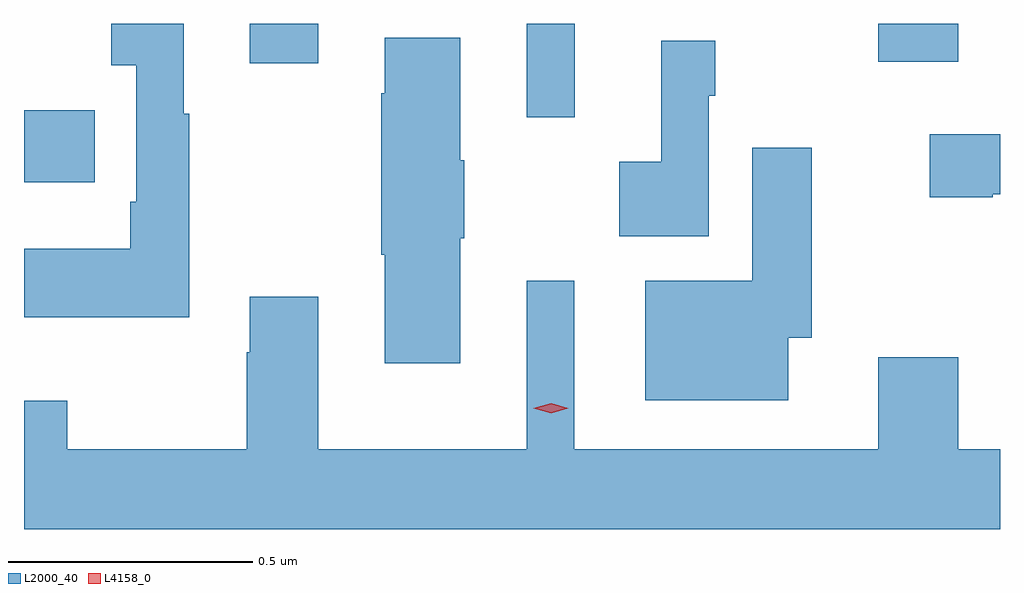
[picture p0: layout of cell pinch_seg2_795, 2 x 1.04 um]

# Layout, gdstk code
import gdstk
lib = gdstk.Library(unit=1e-6, precision=1e-09)
def R(c, l, rs):  # rectangles x0, y0, x1, y1
    for r in rs: c.add(gdstk.rectangle(r[:2], r[2:], *l))
def P(c, l, *ps):  # polygons
    for p in ps: c.add(gdstk.Polygon(p, *l))
L2000_40 = (2000, 40)
L4158_0 = (4158, 0)

pinch_seg2_795 = lib.new_cell('pinch_seg2_795')
R(pinch_seg2_795, L2000_40, [(726.694,652.343,726.839,652.491), (727.724,652.476,727.823,652.668), (727.157,652.587,727.297,652.668), (728.444,652.59,728.608,652.668)])
P(pinch_seg2_795, L2000_40, [(727.033,652.483),(727.021,652.483),(727.021,652.668),(726.873,652.668),(726.873,652.583),(726.924,652.583),(726.924,652.303),(726.912,652.303),(726.912,652.207),(726.694,652.207),(726.694,652.067),(727.033,652.067)],
  [(727.588,652.228),(727.596,652.228),(727.596,652.388),(727.588,652.388),(727.588,652.639),(727.433,652.639),(727.433,652.526),(727.426,652.526),(727.426,652.195),(727.433,652.195),(727.433,651.972),(727.588,651.972)],
  [(728.097,652.52),(728.11,652.52),(728.11,652.633),(728,652.633),(728,652.385),(727.914,652.385),(727.914,652.232),(728.097,652.232)],
  [(728.679,652.319),(728.694,652.319),(728.694,652.441),(728.55,652.441),(728.55,652.312),(728.679,652.312)],
  [(728.26,652.025),(728.308,652.025),(728.308,652.414),(728.186,652.414),(728.186,652.141),(727.967,652.141),(727.967,651.896),(728.26,651.896)],
  [(728.694,651.796),(728.608,651.796),(728.608,651.985),(728.444,651.985),(728.444,651.796),(727.822,651.796),(727.822,652.141),(727.724,652.141),(727.724,651.796),(727.297,651.796),(727.297,652.108),(727.157,652.108),(727.157,651.995),(727.15,651.995),(727.15,651.796),(726.783,651.796),(726.783,651.895),(726.694,651.895),(726.694,651.632),(728.694,651.632)])
P(pinch_seg2_795, L4158_0, [(727.774,651.87),(727.738,651.88),(727.738,651.88),(727.738,651.88),(727.774,651.89),(727.809,651.88),(727.809,651.88),(727.809,651.88)])

lib.write_gds('pinch_seg2_795.gds')
